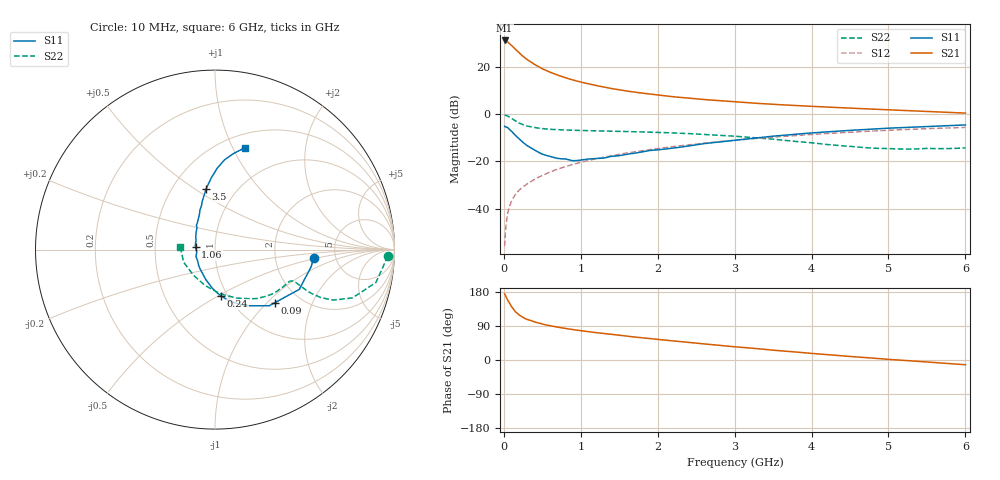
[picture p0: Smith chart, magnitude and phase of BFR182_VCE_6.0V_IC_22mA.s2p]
! Infineon Technologies  Discrete & RF Semiconductors
! BFR182
! VCE =  6.0 V,  IC =  22 mA
! Common Emitter S-Parameters:  Nov 2015
# GHz  S  MA  R  50
!  f  S11  S21  S12  S22
! GHz  MAG  ANG  MAG  ANG  MAG  ANG  MAG  ANG
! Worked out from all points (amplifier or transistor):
!   210 points, 10 MHz to 6 GHz, reference 50 ohm
!   highest |S21| = 31.2 dB at 10 MHz (marker M1)
!   |S21| within 3 dB of that: start of sweep to 128.1 MHz
!   unconditionally stable (mu >= 1): 570.2 MHz to 2.563 GHz
!   at 185 MHz: K = 0.70, MSG = 29.5 dB, |S12| = -32.7 dB
!   at 1.52 GHz: K = 1.04, MAG = 12.3 dB, |S12| = -16.9 dB
!   at 6 GHz: K = 0.89, MSG = 3.0 dB, |S12| = -5.6 dB
!   S11 on the Smith chart (normalised r, x): 10 MHz: 3.39, -0.47; 90 MHz: 1.51, -1.12; 240 MHz: 0.93, -0.52; 1.06 GHz: 0.80, +0.03; 3.5 GHz: 0.73, +0.56; 6 GHz: 0.64, +1.11
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0.01  0.5513 -5.0  36.31 174.6  0.0016 89.9  0.9627 -2.1
0.02  0.5442 -10.1  35.75 170.1  0.0031 87.6  0.9475 -4.8
0.05  0.5192 -25.3  33.82 157.7  0.008 77.1  0.9146 -11.6
0.09  0.4466 -41.3  29.48 144.3  0.0131 75.9  0.8306 -17.7
0.1  0.4349 -46.0  28.7 140.4  0.0144 75.7  0.8112 -19.4
0.15  0.3549 -61.9  23.67 127.2  0.0198 71.3  0.7138 -23.2
0.2  0.299 -74.2  19.75 118.7  0.0247 71.2  0.6452 -24.4
0.24  0.2599 -82.5  17.28 113.5  0.0281 71.4  0.6051 -24.5
0.3  0.2167 -93.8  14.4 107.2  0.033 72.6  0.561 -24.1
0.4  0.1732 -107.6  11.25 100.5  0.0416 73.5  0.5187 -23.1
0.5  0.142 -123.2  9.122 94.7  0.0505 73.8  0.4938 -22.3
0.7  0.1156 -146.7  6.695 86.6  0.0684 73.8  0.4679 -22.0
0.8  0.1126 -160.8  5.88 83.2  0.0774 73.4  0.4606 -22.2
1.02  0.1076 175.2  4.696 76.9  0.097 72.3  0.4494 -23.5
1.06  0.1096 171.6  4.537 76.0  0.1008 72.2  0.4477 -23.8
1.4  0.1277 147.6  3.479 67.6  0.1318 70.1  0.436 -27.4
2.02  0.1766 124.1  2.515 54.0  0.1884 64.6  0.4101 -35.9
3.1  0.2898 103.4  1.774 33.3  0.2889 53.6  0.3308 -55.7
3.5  0.3412 98.4  1.612 25.9  0.326 49.4  0.295 -66.2
4.1  0.4103 92.0  1.437 15.9  0.3797 42.2  0.2371 -87.1
5.1  0.5124 82.8  1.219 0.4  0.4633 29.9  0.1835 -135.9
6  0.5904 73.8  1.051 -12.5  0.5223 17.9  0.1934 176.5
